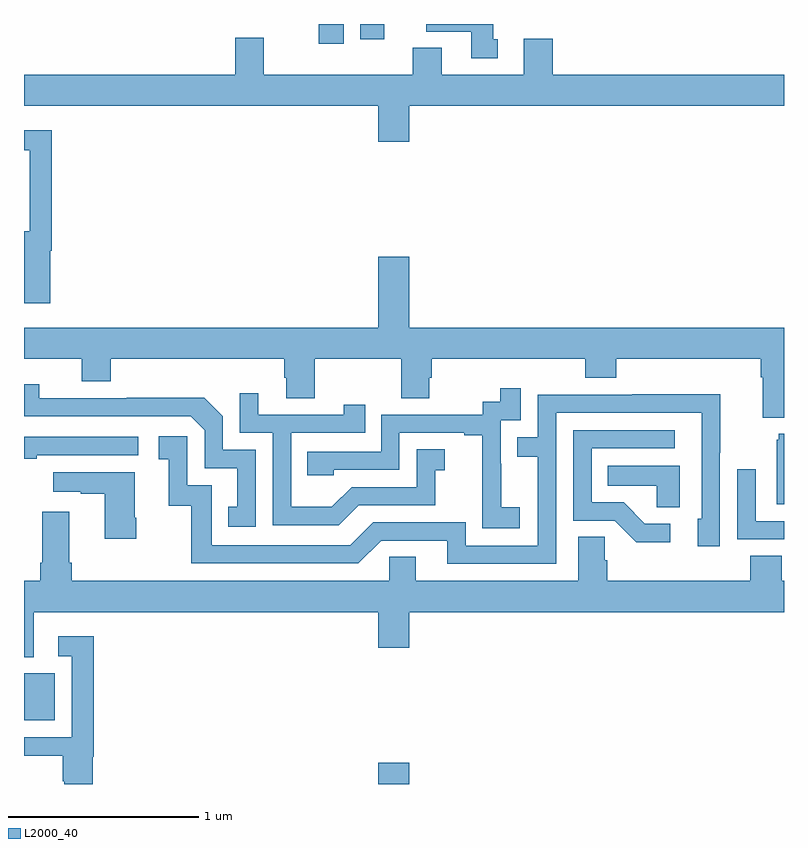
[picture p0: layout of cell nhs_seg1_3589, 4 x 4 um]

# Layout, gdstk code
import gdstk
lib = gdstk.Library(unit=1e-6, precision=1e-09)
def R(c, l, rs):  # rectangles x0, y0, x1, y1
    for r in rs: c.add(gdstk.rectangle(r[:2], r[2:], *l))
def P(c, l, *ps):  # polygons
    for p in ps: c.add(gdstk.Polygon(p, *l))
L2000_40 = (2000, 40)

nhs_seg1_3589 = lib.new_cell('nhs_seg1_3589')
R(nhs_seg1_3589, L2000_40, [(308.864,512.199,309.028,512.311), (307,512.534,307.162,512.782), (308.552,516.096,308.683,516.199), (308.771,516.12,308.896,516.199)])
P(nhs_seg1_3589, L2000_40, [(309.493,516.12),(309.469,516.12),(309.469,516.199),(309.118,516.199),(309.118,516.158),(309.353,516.158),(309.353,516.018),(309.493,516.018)],
  [(309.028,515.768),(311,515.768),(311,515.932),(309.782,515.932),(309.782,516.121),(309.629,516.121),(309.629,515.932),(309.199,515.932),(309.199,516.073),(309.047,516.073),(309.047,515.932),(308.263,515.932),(308.263,516.127),(308.111,516.127),(308.111,515.932),(307,515.932),(307,515.768),(308.864,515.768),(308.864,515.58),(309.028,515.58)],
  [(307.139,515.006),(307.145,515.006),(307.145,515.641),(307,515.641),(307,515.535),(307.029,515.535),(307.029,515.109),(307,515.109),(307,514.728),(307.139,514.728)],
  [(311,514.6),(309.028,514.6),(309.028,514.975),(308.864,514.975),(308.864,514.6),(307,514.6),(307,514.436),(307.304,514.436),(307.304,514.319),(307.457,514.319),(307.457,514.436),(308.369,514.436),(308.369,514.338),(308.381,514.338),(308.381,514.228),(308.529,514.228),(308.529,514.436),(308.986,514.436),(308.986,514.228),(309.133,514.228),(309.133,514.338),(309.146,514.338),(309.146,514.436),(309.953,514.436),(309.953,514.337),(310.118,514.337),(310.118,514.436),(310.877,514.436),(310.877,514.34),(310.889,514.34),(310.889,514.127),(311,514.127)],
  [(308.22,513.957),(308.046,513.957),(308.046,514.134),(307.948,514.232),(307.54,514.232),(307.54,514.23),(307.08,514.23),(307.08,514.303),(307,514.303),(307,514.134),(307.878,514.134),(307.95,514.062),(307.95,513.861),(308.123,513.861),(308.123,513.657),(308.074,513.657),(308.074,513.552),(308.22,513.552)],
  [(309.61,513.655),(309.512,513.655),(309.512,513.884),(309.51,513.884),(309.51,514.113),(309.615,514.113),(309.615,514.282),(309.507,514.282),(309.507,514.212),(309.414,514.212),(309.414,514.143),(308.88,514.143),(308.88,513.948),(308.491,513.948),(308.491,513.825),(308.631,513.825),(308.631,513.852),(308.976,513.852),(308.976,514.047),(309.317,514.047),(309.317,514.035),(309.413,514.035),(309.413,513.751),(309.412,513.751),(309.412,513.545),(309.61,513.545)],
  [(308.761,513.666),(309.165,513.666),(309.165,513.851),(309.214,513.851),(309.214,513.961),(309.066,513.961),(309.066,513.762),(308.724,513.762),(308.62,513.658),(308.406,513.658),(308.406,514.047),(308.795,514.047),(308.795,514.195),(308.684,514.195),(308.684,514.143),(308.233,514.143),(308.233,514.255),(308.136,514.255),(308.136,514.047),(308.31,514.047),(308.31,513.561),(308.656,513.561)],
  [(309.801,514.152),(310.566,514.152),(310.566,513.594),(310.547,513.594),(310.547,513.45),(310.662,513.45),(310.662,513.943),(310.665,513.943),(310.665,514.25),(310.201,514.25),(310.201,514.248),(309.705,514.248),(309.705,514.023),(309.595,514.023),(309.595,513.922),(309.705,513.922),(309.705,513.453),(309.324,513.453),(309.324,513.576),(308.838,513.576),(308.718,513.456),(307.989,513.456),(307.989,513.771),(307.86,513.771),(307.86,514.03),(307.71,514.03),(307.71,513.909),(307.763,513.909),(307.763,513.663),(307.881,513.663),(307.881,513.36),(308.76,513.36),(308.88,513.48),(309.227,513.48),(309.227,513.357),(309.801,513.357)],
  [(310.402,513.57),(310.267,513.57),(310.156,513.681),(309.987,513.681),(309.987,513.966),(310.426,513.966),(310.426,514.062),(309.891,514.062),(309.891,513.585),(310.11,513.585),(310.223,513.472),(310.402,513.472)],
  [(311,514.042),(310.973,514.042),(310.973,514.011),(310.961,514.011),(310.961,513.671),(311,513.671)],
  [(307.067,513.93),(307.6,513.93),(307.6,514.026),(307,514.026),(307,513.91),(307.067,513.91)],
  [(310.45,513.874),(310.072,513.874),(310.072,513.77),(310.329,513.77),(310.329,513.655),(310.45,513.655)],
  [(311,513.582),(310.851,513.582),(310.851,513.856),(310.755,513.856),(310.755,513.486),(311,513.486)],
  [(307.59,513.601),(307.582,513.601),(307.582,513.841),(307.155,513.841),(307.155,513.737),(307.298,513.737),(307.298,513.727),(307.424,513.727),(307.424,513.489),(307.59,513.489)],
  [(307.051,513.104),(308.864,513.104),(308.864,512.916),(309.028,512.916),(309.028,513.104),(311,513.104),(311,513.268),(310.988,513.268),(310.988,513.401),(310.823,513.401),(310.823,513.268),(310.07,513.268),(310.07,513.377),(310.056,513.377),(310.056,513.5),(309.917,513.5),(309.917,513.268),(309.061,513.268),(309.061,513.395),(308.922,513.395),(308.922,513.268),(307.25,513.268),(307.25,513.364),(307.237,513.364),(307.237,513.631),(307.097,513.631),(307.097,513.364),(307.085,513.364),(307.085,513.268),(307,513.268),(307,512.867),(307.051,512.867)],
  [(307.361,512.342),(307.367,512.342),(307.367,512.977),(307.179,512.977),(307.179,512.871),(307.251,512.871),(307.251,512.445),(307,512.445),(307,512.348),(307.204,512.348),(307.204,512.214),(307.211,512.214),(307.211,512.199),(307.361,512.199)])

lib.write_gds('nhs_seg1_3589.gds')
